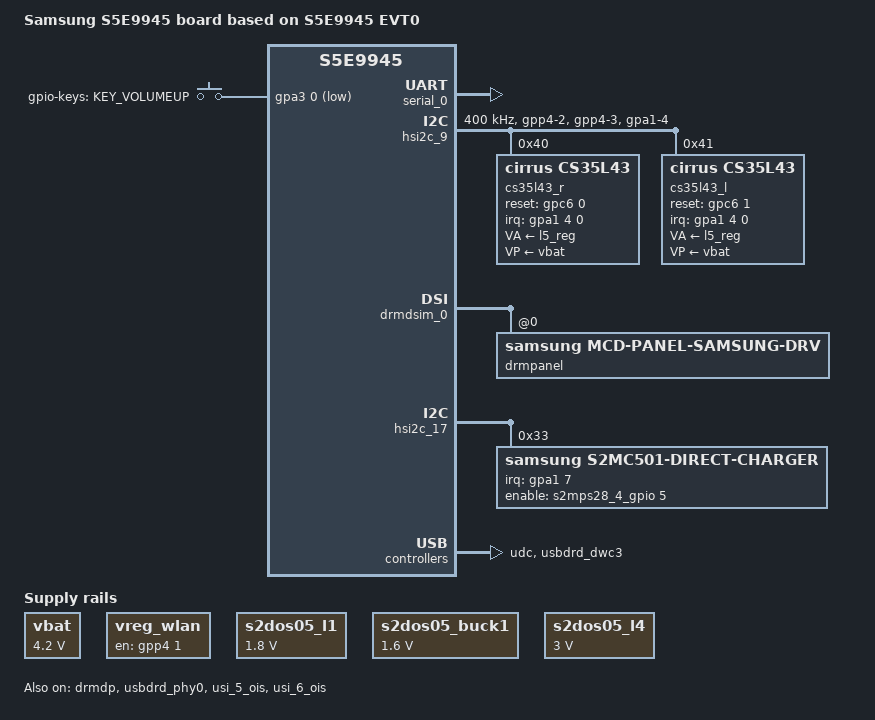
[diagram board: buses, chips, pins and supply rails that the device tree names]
/*
 * SAMSUNG S5E9945 SoC device tree source
 *
 * Copyright (c) 2023 Samsung Electronics Co., Ltd.
 *             http://www.samsung.com
 *
 * SAMSUNG S5E9945 SoC device nodes are listed in this file.
 * EXYNOS based board files can include this file and provide
 * values for board specfic bindings.
 *
 * This program is free software; you can redistribute it and/or modify
 * it under the terms of the GNU General Public License version 2 as
 * published by the Free Software Foundation.
 */

//#include <dt-bindings/clock/s5e9945.h>
#include <dt-bindings/interrupt-controller/s5e9945.h>
#include <dt-bindings/gpio/gpio.h>
#include <dt-bindings/pci/pci.h>
#include "../s5e9945_common.dtsi"
#include "camera/s5e9945-mu3s_camera.dtsi"
#include "../../exynos/board/erd/s5e9945-universal9945-cp-s5153ap-sipc.dtsi"
#include "../../exynos/board/erd/s5e9945-erd9945-gnss.dtsi"
#include "s5e9945-mu3s_bluetooth.dtsi"

#define BOARD_ID	0x0

/ {
	compatible = "samsung,armv9", "samsung,s5e9945";
	board_id = <BOARD_ID>;
	board_rev = <0x0>;

	fragment@model {
		target-path = "/";
		__overlay__ {
			#address-cells = <2>;
			#size-cells = <1>;

			model = "Samsung S5E9945 board based on S5E9945 EVT0";

			gpio_keys {
				status = "okay";
				compatible = "gpio-keys";
				pinctrl-names = "default";
				pinctrl-0 = <&key_volup>;

				button@3 {
					label = "gpio-keys: KEY_VOLUMEUP";
					linux,code = <115>;
					gpios = <&gpa3 0 0xf>;
				};
			};

			vbat: vbat {
				compatible = "regulator-fixed";
				regulator-name = "VBAT";
				regulator-min-microvolt = <4200000>;
				regulator-max-microvolt = <4200000>;
				regulator-boot-on;
			};

			dummy_audio_codec: audio-codec-dummy {
				compatible = "snd-soc-dummy";
				#sound-dai-cells = <0>;
			};

			dummy_audio_cpu: audio-cpu-dummy {
				compatible = "samsung,dummy-cpu";
				#sound-dai-cells = <0>;
			};

			cirrus_amps {
				compatible = "cirrus-amp";
				cirrus,num-amps = <2>;
				cirrus,amps = <&cs35l43_r &cs35l43_l>;
			};

			sound {
				compatible = "samsung,exynos9945-audio";

				MICBIAS1-supply = <&l16_reg>;
				MICBIAS2-supply = <&l16_reg>;
				MICBIAS3-supply = <&l16_reg>;

				/* Trick for probe order */
				dmas = <&dp_dma0>;

				samsung,routing =
					"DMIC1", "MICBIAS1",
					"DMIC2", "MICBIAS2",
					"DMIC3", "MICBIAS3",
					"RECEIVER", "Left AMP SPK",
					"SPEAKER", "Right AMP SPK",
					"BLUETOOTH SPK", "ABOX UAIF2 Playback",
					"ABOX UAIF2 Capture", "BLUETOOTH MIC",
					"USB SPK", "ABOX USB Playback",
					"ABOX USB Capture", "USB MIC",
					"FWD SPK", "ABOX FWD Playback",
					"ABOX FWD Capture", "FWD MIC",
					"HAPTIC SPK", "ABOX UAIF0 Playback",
					"VTS Virtual Output", "VTS Virtual Output Mux",
					"PAD DPDM", "DMIC1",
					"PAD DPDM", "DMIC2",
					"PAD DPDM", "DMIC3";

				samsung,codec = <&cs35l43_l &cs35l43_r>;
				samsung,prefix = "Left", "Right";
				samsung,aux = <&abox_effect &abox_tplg>;

				rdma0 {
					cpu {
						sound-dai = <&abox_rdma_0 0>;
					};
					platform {
						sound-dai = <&abox_rdma_0 0>;
					};
				};
				rdma1 {
					cpu {
						sound-dai = <&abox_rdma_1 0>;
					};
					platform {
						sound-dai = <&abox_rdma_1 0>;
					};
				};
				rdma2 {
					cpu {
						sound-dai = <&abox_rdma_2 0>;
					};
					platform {
						sound-dai = <&abox_rdma_2 0>;
					};
				};
				rdma3 {
					cpu {
						sound-dai = <&abox_rdma_3 0>;
					};
					platform {
						sound-dai = <&abox_rdma_3 0>;
					};
				};
				rdma4 {
					cpu {
						sound-dai = <&abox_rdma_4 0>;
					};
					platform {
						sound-dai = <&abox_rdma_4 0>;
					};
				};
				rdma5 {
					cpu {
						sound-dai = <&abox_rdma_5 0>;
					};
					platform {
						sound-dai = <&abox_rdma_5 0>;
					};
				};
				rdma6 {
					cpu {
						sound-dai = <&abox_rdma_6 0>;
					};
					platform {
						sound-dai = <&abox_rdma_6 0>;
					};
				};
				rdma7 {
					cpu {
						sound-dai = <&abox_rdma_7 0>;
					};
					platform {
						sound-dai = <&abox_rdma_7 0>;
					};
				};
				rdma8 {
					cpu {
						sound-dai = <&abox_rdma_8 0>;
					};
					platform {
						sound-dai = <&abox_rdma_8 0>;
					};
				};
				rdma9 {
					cpu {
						sound-dai = <&abox_rdma_9 0>;
					};
					platform {
						sound-dai = <&abox_rdma_9 0>;
					};
				};
				rdma10 {
					cpu {
						sound-dai = <&abox_rdma_10 0>;
					};
					platform {
						sound-dai = <&abox_rdma_10 0>;
					};
				};
				rdma11 {
					cpu {
						sound-dai = <&abox_rdma_11 0>;
					};
					platform {
						sound-dai = <&abox_rdma_11 0>;
					};
				};
				rdma12 {
					cpu {
						sound-dai = <&abox_rdma_12 0>;
					};
					platform {
						sound-dai = <&abox_rdma_12 0>;
					};
				};
				rdma13 {
					cpu {
						sound-dai = <&abox_rdma_13 0>;
					};
					platform {
						sound-dai = <&abox_rdma_13 0>;
					};
				};
				rdma14 {
					cpu {
						sound-dai = <&abox_rdma_14 0>;
					};
					platform {
						sound-dai = <&abox_rdma_14 0>;
					};
				};
				rdma15 {
					cpu {
						sound-dai = <&abox_rdma_15 0>;
					};
					platform {
						sound-dai = <&abox_rdma_15 0>;
					};
				};
				wdma0 {
					cpu {
						sound-dai = <&abox_wdma_0 0>;
					};
					platform {
						sound-dai = <&abox_wdma_0 0>;
					};
				};
				wdma1 {
					cpu {
						sound-dai = <&abox_wdma_1 0>;
					};
					platform {
						sound-dai = <&abox_wdma_1 0>;
					};
				};
				wdma2 {
					cpu {
						sound-dai = <&abox_wdma_2 0>;
					};
					platform {
						sound-dai = <&abox_wdma_2 0>;
					};
				};
				wdma3 {
					cpu {
						sound-dai = <&abox_wdma_3 0>;
					};
					platform {
						sound-dai = <&abox_wdma_3 0>;
					};
				};
				wdma4 {
					cpu {
						sound-dai = <&abox_wdma_4 0>;
					};
					platform {
						sound-dai = <&abox_wdma_4 0>;
					};
				};
				wdma5 {
					cpu {
						sound-dai = <&abox_wdma_5 0>;
					};
					platform {
						sound-dai = <&abox_wdma_5 0>;
					};
				};
				wdma6 {
					cpu {
						sound-dai = <&abox_wdma_6 0>;
					};
					platform {
						sound-dai = <&abox_wdma_6 0>;
					};
				};
				wdma7 {
					cpu {
						sound-dai = <&abox_wdma_7 0>;
					};
					platform {
						sound-dai = <&abox_wdma_7 0>;
					};
				};
				wdma8 {
					cpu {
						sound-dai = <&abox_wdma_8 0>;
					};
					platform {
						sound-dai = <&abox_wdma_8 0>;
					};
				};
				wdma9 {
					cpu {
						sound-dai = <&abox_wdma_9 0>;
					};
					platform {
						sound-dai = <&abox_wdma_9 0>;
					};
				};
				wdma10 {
					cpu {
						sound-dai = <&abox_wdma_10 0>;
					};
					platform {
						sound-dai = <&abox_wdma_10 0>;
					};
				};
				wdma11 {
					cpu {
						sound-dai = <&abox_wdma_11 0>;
					};
					platform {
						sound-dai = <&abox_wdma_11 0>;
					};
				};
				vts0 {
					cpu {
						sound-dai = <&vts 0>;
					};
					platform {
						sound-dai = <&vts_dma0>;
					};
				};
				vts1 {
					cpu {
						sound-dai = <&vts 1>;
					};
					platform {
						sound-dai = <&vts_dma1>;
					};
				};
				vts2 {
					cpu {
						sound-dai = <&vts 2>;
					};
					platform {
						sound-dai = <&vts_dma2>;
					};
				};

				dp0_audio {
					cpu {
						sound-dai = <&displayport_adma 0>;
					};
					platform {
						sound-dai = <&dp_dma0>;
					};
				};

				dual0 {
					cpu {
						sound-dai = <&abox_dual_0>;
					};
					platform {
						sound-dai = <&abox_dual_0>;
					};
				};
				dual1 {
					cpu {
						sound-dai = <&abox_dual_1>;
					};
					platform {
						sound-dai = <&abox_dual_1>;
					};
				};
				dual2 {
					cpu {
						sound-dai = <&abox_dual_2>;
					};
					platform {
						sound-dai = <&abox_dual_2>;
					};
				};
				dual3 {
					cpu {
						sound-dai = <&abox_dual_3>;
					};
					platform {
						sound-dai = <&abox_dual_3>;
					};
				};
				dual4 {
					cpu {
						sound-dai = <&abox_dual_4>;
					};
					platform {
						sound-dai = <&abox_dual_4>;
					};
				};
				dual5 {
					cpu {
						sound-dai = <&abox_dual_5>;
					};
					platform {
						sound-dai = <&abox_dual_5>;
					};
				};
				dual6 {
					cpu {
						sound-dai = <&abox_dual_6>;
					};
					platform {
						sound-dai = <&abox_dual_6>;
					};
				};
				dual7 {
					cpu {
						sound-dai = <&abox_dual_7>;
					};
					platform {
						sound-dai = <&abox_dual_7>;
					};
				};
				dual8 {
					cpu {
						sound-dai = <&abox_dual_8>;
					};
					platform {
						sound-dai = <&abox_dual_8>;
					};
				};
				dual9 {
					cpu {
						sound-dai = <&abox_dual_9>;
					};
					platform {
						sound-dai = <&abox_dual_9>;
					};
				};
				dual10 {
					cpu {
						sound-dai = <&abox_dual_10>;
					};
					platform {
						sound-dai = <&abox_dual_10>;
					};
				};
				dual11 {
					cpu {
						sound-dai = <&abox_dual_11>;
					};
					platform {
						sound-dai = <&abox_dual_11>;
					};
				};
				ddma0 {
					cpu {
						sound-dai = <&abox_ddma_0>;
					};
					platform {
						sound-dai = <&abox_ddma_0>;
					};
				};
				ddma1 {
					cpu {
						sound-dai = <&abox_ddma_1>;
					};
					platform {
						sound-dai = <&abox_ddma_1>;
					};
				};
				ddma2 {
					cpu {
						sound-dai = <&abox_ddma_2>;
					};
					platform {
						sound-dai = <&abox_ddma_2>;
					};
				};
				ddma3 {
					cpu {
						sound-dai = <&abox_ddma_3>;
					};
					platform {
						sound-dai = <&abox_ddma_3>;
					};
				};
				ddma4 {
					cpu {
						sound-dai = <&abox_ddma_4>;
					};
					platform {
						sound-dai = <&abox_ddma_4>;
					};
				};
				ddma5 {
					cpu {
						sound-dai = <&abox_ddma_5>;
					};
					platform {
						sound-dai = <&abox_ddma_5>;
					};
				};
				uaif0 {
					format = "i2s";
					cpu {
						sound-dai = <&abox_uaif_0>;
					};
					codec {
						sound-dai = <&cs40l26a 0>;
					};
				};
				uaif1 {
					format = "i2s";
					cpu {
						sound-dai = <&abox_uaif_1>;
					};
				};
				uaif2 {
					format = "i2s";
					cpu {
						sound-dai = <&abox_uaif_2>;
					};
				};
				uaif3 {
					format = "dsp_a";
					cpu {
						sound-dai = <&abox_uaif_3>;
					};
					codec {
						sound-dai = <&cs35l43_l 0 &cs35l43_r 0>;
					};
				};
				uaif4 {
					format = "dsp_a";
					cpu {
						sound-dai = <&abox_uaif_4>;
					};
				};
				uaif5 {
					format = "dsp_a";
					cpu {
						sound-dai = <&abox_uaif_5>;
					};
				};
				uaif6 {
					format = "dsp_a";
					bitclock-master;
					bitclock-inversion;
					frame-master;

					cpu {
						sound-dai = <&abox_uaif_6>;
					};
					codec {
						sound-dai = <&vts_s_lif 0>;
					};
				};
				dsif0 {
					format = "pdm";
					cpu {
						sound-dai = <&abox_dsif>;
					};
				};
				udma_rd0 {
					cpu {
						sound-dai = <&abox_udma_rd_0>;
					};
				};
				udma_wr0 {
					cpu {
						sound-dai = <&abox_udma_wr_0>;
					};
				};
				udma_wr_dual0 {
					cpu {
						sound-dai = <&abox_udma_wr_dual_0>;
					};
				};
				udma_wr_dbg0 {
					cpu {
						sound-dai = <&abox_udma_wr_debug_0>;
					};
				};
				rdma0_be {
					cpu {
						sound-dai = <&abox_rdma_0 1>;
					};
					platform {
						sound-dai = <&abox_rdma_0 1>;
					};
				};
				rdma1_be {
					cpu {
						sound-dai = <&abox_rdma_1 1>;
					};
					platform {
						sound-dai = <&abox_rdma_1 1>;
					};
				};
				rdma2_be {
					cpu {
						sound-dai = <&abox_rdma_2 1>;
					};
					platform {
						sound-dai = <&abox_rdma_2 1>;
					};
				};
				rdma3_be {
					cpu {
						sound-dai = <&abox_rdma_3 1>;
					};
					platform {
						sound-dai = <&abox_rdma_3 1>;
					};
				};
				rdma4_be {
					cpu {
						sound-dai = <&abox_rdma_4 1>;
					};
					platform {
						sound-dai = <&abox_rdma_4 1>;
					};
				};
				rdma5_be {
					cpu {
						sound-dai = <&abox_rdma_5 1>;
					};
					platform {
						sound-dai = <&abox_rdma_5 1>;
					};
				};
				rdma6_be {
					cpu {
						sound-dai = <&abox_rdma_6 1>;
					};
					platform {
						sound-dai = <&abox_rdma_6 1>;
					};
				};
				rdma7_be {
					cpu {
						sound-dai = <&abox_rdma_7 1>;
					};
					platform {
						sound-dai = <&abox_rdma_7 1>;
					};
				};
				rdma8_be {
					cpu {
						sound-dai = <&abox_rdma_8 1>;
					};
					platform {
						sound-dai = <&abox_rdma_8 1>;
					};
				};
				rdma9_be {
					cpu {
						sound-dai = <&abox_rdma_9 1>;
					};
					platform {
						sound-dai = <&abox_rdma_9 1>;
					};
				};
				rdma10_be {
					cpu {
						sound-dai = <&abox_rdma_10 1>;
					};
					platform {
						sound-dai = <&abox_rdma_10 1>;
					};
				};
				rdma11_be {
					cpu {
						sound-dai = <&abox_rdma_11 1>;
					};
					platform {
						sound-dai = <&abox_rdma_11 1>;
					};
				};
				rdma12_be {
					cpu {
						sound-dai = <&abox_rdma_12 1>;
					};
					platform {
						sound-dai = <&abox_rdma_12 1>;
					};
				};
				rdma13_be {
					cpu {
						sound-dai = <&abox_rdma_13 1>;
					};
					platform {
						sound-dai = <&abox_rdma_13 1>;
					};
				};
				rdma14_be {
					cpu {
						sound-dai = <&abox_rdma_14 1>;
					};
					platform {
						sound-dai = <&abox_rdma_14 1>;
					};
				};
				rdma15_be {
					cpu {
						sound-dai = <&abox_rdma_15 1>;
					};
					platform {
						sound-dai = <&abox_rdma_15 1>;
					};
				};
				wdma0_be {
					cpu {
						sound-dai = <&abox_wdma_0 1>;
					};
					platform {
						sound-dai = <&abox_wdma_0 1>;
					};
				};
				wdma1_be {
					cpu {
						sound-dai = <&abox_wdma_1 1>;
					};
					platform {
						sound-dai = <&abox_wdma_1 1>;
					};
				};
				wdma2_be {
					cpu {
						sound-dai = <&abox_wdma_2 1>;
					};
					platform {
						sound-dai = <&abox_wdma_2 1>;
					};
				};
				wdma3_be {
					cpu {
						sound-dai = <&abox_wdma_3 1>;
					};
					platform {
						sound-dai = <&abox_wdma_3 1>;
					};
				};
				wdma4_be {
					cpu {
						sound-dai = <&abox_wdma_4 1>;
					};
					platform {
						sound-dai = <&abox_wdma_4 1>;
					};
				};
				wdma5_be {
					cpu {
						sound-dai = <&abox_wdma_5 1>;
					};
					platform {
						sound-dai = <&abox_wdma_5 1>;
					};
				};
				wdma6_be {
					cpu {
						sound-dai = <&abox_wdma_6 1>;
					};
					platform {
						sound-dai = <&abox_wdma_6 1>;
					};
				};
				wdma7_be {
					cpu {
						sound-dai = <&abox_wdma_7 1>;
					};
					platform {
						sound-dai = <&abox_wdma_7 1>;
					};
				};
				wdma8_be {
					cpu {
						sound-dai = <&abox_wdma_8 1>;
					};
					platform {
						sound-dai = <&abox_wdma_8 1>;
					};
				};
				wdma9_be {
					cpu {
						sound-dai = <&abox_wdma_9 1>;
					};
					platform {
						sound-dai = <&abox_wdma_9 1>;
					};
				};
				wdma10_be {
					cpu {
						sound-dai = <&abox_wdma_10 1>;
					};
					platform {
						sound-dai = <&abox_wdma_10 1>;
					};
				};
				wdma11_be {
					cpu {
						sound-dai = <&abox_wdma_11 1>;
					};
					platform {
						sound-dai = <&abox_wdma_11 1>;
					};
				};
				usb {
					cpu {
						sound-dai = <&abox 0>;
					};
				};
				fwd {
					cpu {
						sound-dai = <&abox 1>;
					};
				};
			}; /* end of sound */

			sec-audio-sysfs {
				compatible = "samsung,audio-sysfs";
				status = "okay";
				audio,no-earjack;
				audio,num-amp = <2>;
			};

			sec-audio-debug {
				compatible = "samsung,audio-debug";
				status = "okay";

				abox_dbg_size_min = <0x600000>;
				abox_slog_size_min = <0x0>;
			};

			usb_ss_tune:ss_tune {
				status = "disabled";
				ss_tune_cnt = <13>;
				/* value = <device host> */
				/* 0xffffffff means using default value */
				ss_tune1 {
					tune_name = "tx_eq_pre_g1";
					tune_value = <0xffffffff 0xffffffff>;
				};

				ss_tune2 {
					tune_name = "tx_eq_pre_g2";
					tune_value = <0xffffffff 0xffffffff>;
				};

				ss_tune3 {
					tune_name = "tx_eq_post_g1";
					tune_value = <0xffffffff 0xffffffff>;
				};

				ss_tune4 {
					tune_name = "tx_eq_post_g2";
					tune_value = <0xffffffff 0xffffffff>;
				};

				ss_tune5 {
					tune_name = "tx_eq_main_g1";
					tune_value = <0xffffffff 0xffffffff>;
				};

				ss_tune6 {
					tune_name = "tx_eq_main_g2";
					tune_value = <0xffffffff 0xffffffff>;
				};

				ss_tune7 {
					tune_name = "tx_vswing_lvl";
					tune_value = <0xffffffff 0xffffffff>;
				};

				ss_tune8 {
					tune_name = "rx_eq_att_lvl";
					tune_value = <0xffffffff 0xffffffff>;
				};

				ss_tune9 {
					tune_name = "rx_eq_afe_gain";
					tune_value = <0xffffffff 0xffffffff>;
				};

				ss_tune10 {
					tune_name = "rx_eq_ctle_boost";
					tune_value = <0xffffffff 0xffffffff>;
				};

				ss_tune11 {
					tune_name = "rx_term_ctrl";
					tune_value = <0xffffffff 0xffffffff>;
				};

				ss_tune12 {
					tune_name = "tx_term_ctrl";
					tune_value = <0xffffffff 0xffffffff>;
				};

				ss_tune13 {
					tune_name = "tx_rxdet_time";
					tune_value = <0xffffffff 0xffffffff>;
				};
			};

			pinctrl@10830000  {
				wifi_buck_en: wifi_buck_en {
				samsung,pins = "gpp4-1";
				samsung,pin-function = <1>;
				samsung,pin-pud = <0>;
				samsung,pin-con-pdn = <3>;
				samsung,pin-pud-pdn = <0>;
				};
			};

			vreg_wlan: vreg_wlan {
				compatible = "regulator-fixed";
				regulator-name = "vreg_wlan";
				startup-delay-us = <4000>;
				enable-active-high;
				gpio = <&gpp4 1 0x0>; /* WIFI_BUCK_EN */
				pinctrl-names = "default";
				pinctrl-0 = <&wifi_buck_en>;
				status = "okay";
			};
		};

		muic {
			status = "okay";
			muic,support-list = "TA","USB","CDP","JIG UART OFF","JIG UART OFF/VB",
				"JIG UART ON","JIG UART ON/VB","JIG USB OFF",
				"JIG USB ON","OTG","Unofficial TA","DCD Timeout",
				"AFC Charger";
		};

	};
};

&chosen {
        bootargs_ext = "panic_on_warn=1";
};

&serial_0 {
	status = "okay";
};

&pinctrl_7 {
	aud_i2s0_bus:aud-i2s0-bus {
		samsung,pins = "gpb0-0", "gpb0-1", "gpb0-2";
		samsung,pin-function = <2>;
		samsung,pin-pud = <0>;
	};

	aud_i2s0_idle:aud-i2s0-idle {
		samsung,pins = "gpb0-0", "gpb0-1", "gpb0-2";
		samsung,pin-function = <0>;
		samsung,pin-pud = <1>;
	};

	aud_i2s2_bus:aud-i2s2-bus {
		samsung,pins = "gpb2-0", "gpb2-1", "gpb2-2", "gpb2-3";
		samsung,pin-function = <2>;
		samsung,pin-pud = <0>;
	};

	aud_i2s2_idle:aud-i2s2-idle {
		samsung,pins = "gpb2-0", "gpb2-1", "gpb2-2", "gpb2-3";
		samsung,pin-function = <0>;
		samsung,pin-pud = <1>;
	};
};

&pinctrl_9 {
	aud_i2s3_bus:aud-i2s3-bus {
		samsung,pins = "gpb5-0", "gpb5-1", "gpb5-2", "gpb5-3";
		samsung,pin-function = <2>;
		samsung,pin-pud = <0>;
	};

	aud_i2s3_idle:aud-i2s3-idle {
		samsung,pins = "gpb5-0", "gpb5-1", "gpb5-2", "gpb5-3";
		samsung,pin-function = <0>;
		samsung,pin-pud = <1>;
	};
};

&abox_uaif_0 {
	pinctrl-names = "active", "idle";
	pinctrl-0 = <&aud_i2s0_bus>;
	pinctrl-1 = <&aud_i2s0_idle>;
};

&abox_uaif_2 {
	pinctrl-names = "active", "idle";
	pinctrl-0 = <&aud_i2s2_bus>;
	pinctrl-1 = <&aud_i2s2_idle>;
};

&abox_uaif_3 {
	pinctrl-names = "active", "idle";
	pinctrl-0 = <&aud_i2s3_bus>;
	pinctrl-1 = <&aud_i2s3_idle>;
};

&pinctrl_7 {
	cs35l43_r_reset: cs35l43-r-reset {
		samsung,pins = "gpc6-0";
		samsung,pin-function = <1>;
		samsung,pin-val = <0>;
		samsung,pin-pud = <0>;
		samsung,pin-con-pdn = <3>;
		samsung,pin-pud-pdn = <0>;
	};
	cs35l43_l_reset: cs35l43-l-reset {
		samsung,pins = "gpc6-1";
		samsung,pin-function = <1>;
		samsung,pin-val = <0>;
		samsung,pin-pud = <0>;
		samsung,pin-con-pdn = <3>;
		samsung,pin-pud-pdn = <0>;
	};
};

&pinctrl_5 {
	hsi2c9_amp_bus: hsi2c9-amp-bus {
		samsung,pins = "gpp4-2", "gpp4-3";
		samsung,pin-function = <3>;
		samsung,pin-val = <0>;
		samsung,pin-pud = <0>;
		samsung,pin-pud-pdn = <0>;
	};
};

&pinctrl_0 {
	cs35l43_amp_int: cs35l43-amp-int {
		samsung,pins = "gpa1-4";
		samsung,pin-function = <0xf>;
		samsung,pin-pud = <0>;
		samsung,pin-drv = <0>;
	};
};

&hsi2c_9 {
	#address-cells = <1>;
	#size-cells = <0>;
	status = "okay";
	clock-frequency = <400000>;
	pinctrl-names = "default";
	pinctrl-0 = <&hsi2c9_amp_bus &cs35l43_amp_int>;

	cs35l43_r: cs35l43@40 {
		#sound-dai-cells = <1>;
		compatible = "cirrus,cs35l43";
		reg = <0x40>;
		interrupt-parent = <&gpa1>;
		interrupts = <4 0 0>;
		pinctrl-names = "default";
		pinctrl-0 = <&cs35l43_r_reset>;
		reset-gpios = <&gpc6 0 0>;
		VA-supply = <&l5_reg>;
		VP-supply = <&vbat>;

		cirrus,dsp-part-name = "cs35l43-bot";
		cirrus,mfd-suffix = "_r";
		cirrus,bd-suffix = "_1";
		cirrus,bd-max-temp = <110>;

		cirrus,gpio2-src-sel = <2>; /* shared irq */
		cirrus,asp-sdout-hiz = <3>;

		cirrus,vpbr-enable;
		cirrus,vpbr-rel-rate = <0>;
		cirrus,vpbr-wait = <0>;
		cirrus,vpbr-atk-rate = <0>;
		cirrus,vpbr-atk-vol = <5>;
		cirrus,vpbr-max-att = <2>;
		cirrus,vpbr-thld = <6>;

		cirrus,bst-ipk-ma = <4000>;
	};

	cs35l43_l: cs35l43@41 {
		#sound-dai-cells = <1>;
		compatible = "cirrus,cs35l43";
		reg = <0x41>;
		interrupt-parent = <&gpa1>;
		interrupts = <4 0 0>;
		pinctrl-names = "default";
		pinctrl-0 = <&cs35l43_l_reset>;
		reset-gpios = <&gpc6 1 0>;
		VA-supply = <&l5_reg>;
		VP-supply = <&vbat>;

		cirrus,dsp-part-name = "cs35l43-rcv";
		cirrus,mfd-suffix = "";
		cirrus,bd-suffix = "_0";
		cirrus,bd-max-temp = <100>;

		cirrus,gpio2-src-sel = <2>; /* shared irq */
		cirrus,asp-sdout-hiz = <3>;

		cirrus,vpbr-enable;
		cirrus,vpbr-rel-rate = <0>;
		cirrus,vpbr-wait = <0>;
		cirrus,vpbr-atk-rate = <0>;
		cirrus,vpbr-atk-vol = <5>;
		cirrus,vpbr-max-att = <2>;
		cirrus,vpbr-thld = <6>;

		cirrus,bst-ipk-ma = <4100>;
	};
};

&pinctrl_7 {
	cs40l26_reset: cs40l26-reset {
		samsung,pins = "gpp2-2";
		samsung,pin-con-pdn = <3>;
		samsung,pin-pud-pdn = <0>;
	};
};

&pinctrl_0 {
	cs40l26_int: cs40l26-int {
		samsung,pins = "gpa3-7";
		samsung,pin-pud = <0>;
	};
};

&hsi2c4_bus {
    samsung,pin-pud = <3>;
    samsung,pin-pud-pdn = <3>;
};

&s2dos05_l1 {
	regulator-min-microvolt = <1800000>;
	regulator-max-microvolt = <1800000>;
	regulator-always-on;
	regulator-boot-on;
};

&s2dos05_buck1 {
	regulator-min-microvolt = <1600000>;
	regulator-max-microvolt = <1600000>;
	regulator-always-on;
	regulator-boot-on;
};

&s2dos05_l4 {
	regulator-min-microvolt = <3000000>;
	regulator-max-microvolt = <3000000>;
	regulator-always-on;
	regulator-boot-on;
};


&pinctrl_7 {
	ddi_rst: ddi-rst {
		samsung,pins = "gpc7-0";
		samsung,pin-function = <1>;    // OUT
		samsung,pin-pud = <0>;        // NP
		samsung,pin-con-pdn = <3>;    // PREV in sleep
		samsung,pin-pud-pdn = <0>;    // NP in sleep
	};
};

&drmdsim_0 {
	#address-cells = <1>;
	#size-cells = <0>;
	drmpanel {
		   compatible = "samsung,mcd-panel-samsung-drv";
		   /* reset, power */
		   reg = <0>;
	};
};

&drmdp {
	/* GPIO, PMIC-external GPIO */
	status = "okay";
	/* below gpios are pmic gpio, plz modify after implementation */
	dp,aux_sw_oe = <&s2mps28_1_gpio 1 0>;
	dp,sbu_sw_sel = <&s2mps28_1_gpio 2 0>;
	/* Pamir ERD doesn't have USB direction gpio pin
	 * dp,usb_con_sel = <&xxx0 0 0>;
	 */
	pinctrl-names = "default";
};

&pinctrl_0 {
	key_volup: key-volup {
		samsung,pins = "gpa3-0";
		samsung,pin-function = <0xf>;
		samsung,pin-pud = <3>;
		samsung,pin-drv = <3>;
	};

	dc_irq: dc-irq {
		samsung,pins = "gpa1-7";
		samsung,pin-function = <0>;
		samsung,pin-pud = <0>;
		samsung,pin-drv = <0>;
	};
};

&hsi2c_17 {
	#address-cells = <1>;
	#size-cells = <0>;
	status = "okay";
	s2mc501-direct-charger@33 {
		compatible = "samsung,s2mc501-direct-charger";
		reg = <0x33>;
		pinctrl-names = "default";
		dc,direct_charger_name = "s2mc501-direct-charger";
		pinctrl-0 = <&dc_irq>;
		s2mc501,irq-gpio = <&gpa1 7 0>;
		s2mc501,enable-gpio = <&s2mps28_4_gpio 5 0>;
	};
};

&udc {
	status = "okay";
};

&usbdrd_dwc3 {
	status = "okay";
	maximum-speed = "super-speed-plus";
	usb_audio_offloading = <1>;
	abox = <&abox>;
	samsung,abox-gic = <&abox_gic>;
	xhci_use_uram_for_audio = <1>;

	vdd075_usb-supply = <&s5_l2_reg>;
	vdd12_usb-supply = <&s4_l4_reg>;
	vdd18_usb-supply = <&l7_reg>;
	vdd33_usb-supply = <&l11_reg>;
};

&usbdrd_phy0 {
	status = "okay";

	pinctrl-names = "default";
	phy,gpio_phy_port = <&gpc7 1 0x0>;
	ss_tune_param = <&usb_ss_tune>;
	low_power_call = <0>;

	vdd075_usb-supply = <&s5_l2_reg>;
	vdd12_usb-supply = <&s4_l4_reg>;
	vdd18_usb-supply = <&l7_reg>;
	vdd33_usb-supply = <&l11_reg>;
};
/* USB board DT end */

&ufs {
	vcc-supply = <&l8_reg>;
	vccq-supply = <&s4_l5_reg>;
};

&usi_5_ois {
	usi_v2_mode = "i2c";
	status = "okay";
};

&usi_6_ois {
	usi_v2_mode = "spi";
	status = "okay";
};

&ssp {
	vdd_se-supply = <&l15_reg>;
};
